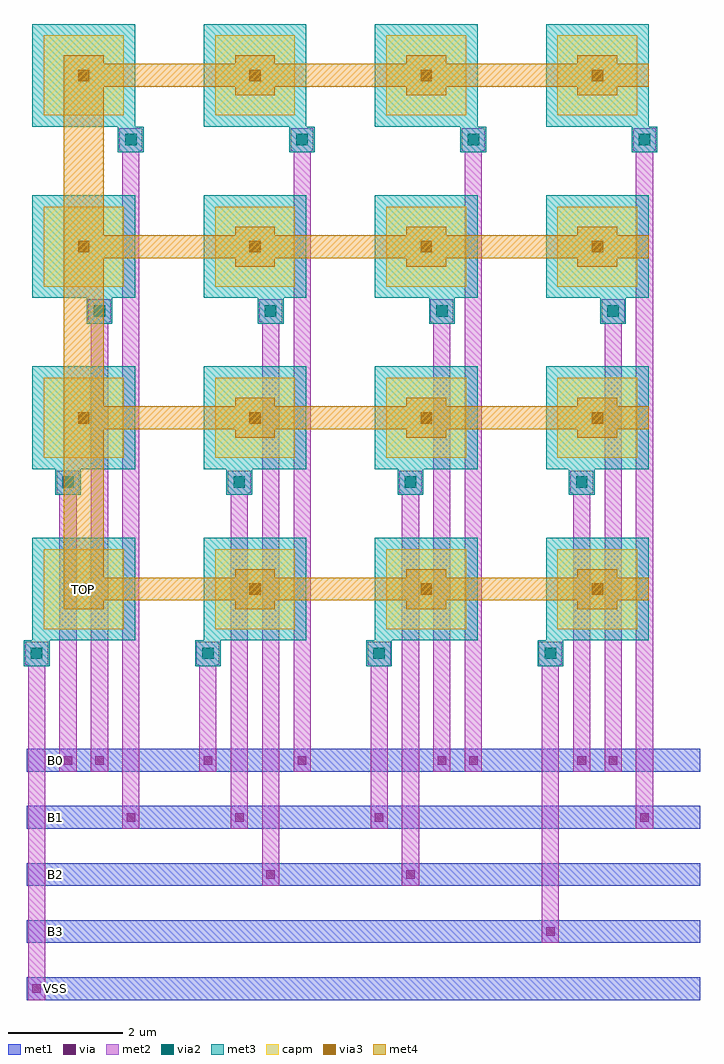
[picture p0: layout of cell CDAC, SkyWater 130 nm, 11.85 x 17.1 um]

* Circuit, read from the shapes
.subckt CDAC B0 B1 B2 B3 TOP VSS
XC1 TOP VSS sky130_fd_pr__cap_mim_m3_1 w=1.4 l=1.4
XC2 TOP B0 sky130_fd_pr__cap_mim_m3_1 w=1.4 l=1.4 m=8
XC3 TOP B1 sky130_fd_pr__cap_mim_m3_1 w=1.4 l=1.4 m=4
XC4 TOP B2 sky130_fd_pr__cap_mim_m3_1 w=1.4 l=1.4 m=2
XC5 TOP B3 sky130_fd_pr__cap_mim_m3_1 w=1.4 l=1.4
.ends

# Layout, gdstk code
import gdstk
lib = gdstk.Library(unit=1e-6, precision=1e-09)
def R(c, l, rs):  # rectangles x0, y0, x1, y1
    for r in rs: c.add(gdstk.rectangle(r[:2], r[2:], *l))
def A(c, l, x, y, w, h, nx, ny, dx, dy):  # array of equal rectangles
    R(c, l, [(x+i*dx, y+j*dy, x+i*dx+w, y+j*dy+h) for i in range(nx) for j in range(ny)])
met1 = (68, 20)
via = (68, 44)
met2 = (69, 20)
via2 = (69, 44)
met3 = (70, 20)
via3 = (70, 44)
met4 = (71, 20)
capm = (89, 44)

cdac = lib.new_cell('CDAC')
A(cdac, met1, -1, -7.2, 11.8, 0.4, 1, 5, 0, 1)
R(cdac, via, [(-0.9,-7.075,-0.75,-6.925), (8.1,-6.075,8.25,-5.925), (3.2,-5.075,3.35,-4.925), (5.65,-5.075,5.8,-4.925), (0.75,-4.075,0.9,-3.925), (2.65,-4.075,2.8,-3.925), (5.1,-4.075,5.25,-3.925), (9.75,-4.075,9.9,-3.925), (-0.35,-3.075,-0.2,-2.925), (0.2,-3.075,0.35,-2.925), (2.1,-3.075,2.25,-2.925), (3.75,-3.075,3.9,-2.925), (6.2,-3.075,6.35,-2.925), (6.75,-3.075,6.9,-2.925), (8.65,-3.075,8.8,-2.925), (9.2,-3.075,9.35,-2.925)])
A(cdac, met2, -1.025, -1.325, 0.4, 0.4, 4, 1, 3, 0)
A(cdac, met2, -0.475, 1.675, 0.4, 0.4, 4, 1, 3, 0)
A(cdac, met2, 0.075, 4.675, 0.4, 0.4, 4, 1, 3, 0)
A(cdac, met2, 0.625, 7.675, 0.4, 0.4, 4, 1, 3, 0)
R(cdac, met2, [(-0.975,-7.2,-0.675,-0.975), (8.025,-6.2,8.325,-0.975), (3.125,-5.2,3.425,5.025), (5.575,-5.2,5.875,2.025), (0.675,-4.2,0.975,8.025), (2.575,-4.2,2.875,2.025), (5.025,-4.2,5.325,-0.975), (9.675,-4.2,9.975,8.025), (-0.425,-3.2,-0.125,2.025), (0.125,-3.2,0.425,5.025), (2.025,-3.2,2.325,-0.975), (3.675,-3.2,3.975,8.025), (6.125,-3.2,6.425,5.025), (6.675,-3.2,6.975,8.025), (8.575,-3.2,8.875,2.025), (9.125,-3.2,9.425,5.025)])
A(cdac, via2, -0.925, -1.225, 0.2, 0.2, 4, 1, 3, 0)
A(cdac, via2, -0.375, 1.775, 0.2, 0.2, 4, 1, 3, 0)
A(cdac, via2, 0.175, 4.775, 0.2, 0.2, 4, 1, 3, 0)
A(cdac, via2, 0.725, 7.775, 0.2, 0.2, 4, 1, 3, 0)
A(cdac, met3, -1.05, -1.35, 0.45, 0.45, 4, 1, 3, 0)
A(cdac, met3, -0.9, -0.9, 1.8, 1.8, 4, 4, 3, 3)
A(cdac, met3, -0.5, 1.65, 0.45, 0.45, 4, 1, 3, 0)
A(cdac, met3, 0.05, 4.65, 0.45, 0.45, 4, 1, 3, 0)
A(cdac, met3, 0.6, 7.65, 0.45, 0.45, 4, 1, 3, 0)
A(cdac, via3, -0.1, -0.1, 0.2, 0.2, 4, 4, 3, 3)
A(cdac, met4, -0.35, -0.35, 0.7, 0.7, 4, 4, 3, 3)
A(cdac, met4, -0.35, -0.2, 10.25, 0.4, 1, 4, 0, 3)
R(cdac, met4, [(-0.35,-0.35,0.35,9.35)])
A(cdac, capm, -0.7, -0.7, 1.4, 1.4, 4, 4, 3, 3)
cdac.add(gdstk.Label('B0', (-0.5,-3), layer=68, texttype=5))
cdac.add(gdstk.Label('B1', (-0.5,-4), layer=68, texttype=5))
cdac.add(gdstk.Label('B2', (-0.5,-5), layer=68, texttype=5))
cdac.add(gdstk.Label('B3', (-0.5,-6), layer=68, texttype=5))
cdac.add(gdstk.Label('VSS', (-0.5,-7), layer=68, texttype=5))
cdac.add(gdstk.Label('TOP', (0,0), layer=71, texttype=5))

lib.write_gds('CDAC.gds')
